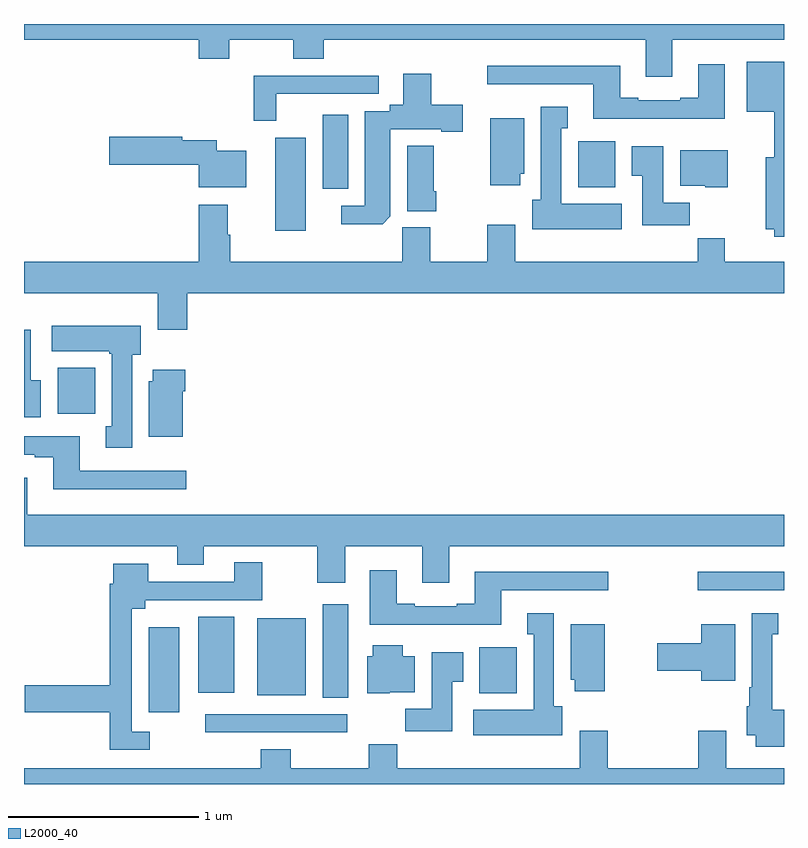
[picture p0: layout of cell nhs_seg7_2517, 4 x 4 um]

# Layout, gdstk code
import gdstk
lib = gdstk.Library(unit=1e-6, precision=1e-09)
def R(c, l, rs):  # rectangles x0, y0, x1, y1
    for r in rs: c.add(gdstk.rectangle(r[:2], r[2:], *l))
def P(c, l, *ps):  # polygons
    for p in ps: c.add(gdstk.Polygon(p, *l))
L2000_40 = (2000, 40)

nhs_seg7_2517 = lib.new_cell('nhs_seg7_2517')
R(nhs_seg7_2517, L2000_40, [(275.955,1030.272,276.7,1030.368), (275.657,1030.377,275.818,1030.825), (276.572,1030.453,276.706,1030.945), (276.227,1030.466,276.484,1030.873), (277.397,1030.478,277.594,1030.72), (275.918,1030.481,276.106,1030.879), (278.547,1031.019,279,1031.116), (275.177,1031.948,275.374,1032.19), (276.323,1032.912,276.484,1033.402), (276.572,1033.134,276.706,1033.522), (277.916,1033.142,278.113,1033.384)])
P(nhs_seg7_2517, L2000_40, [(278.413,1033.916),(279,1033.916),(279,1034),(275,1034),(275,1033.916),(275.921,1033.916),(275.921,1033.817),(276.081,1033.817),(276.081,1033.916),(276.418,1033.916),(276.418,1033.817),(276.578,1033.817),(276.578,1033.916),(278.273,1033.916),(278.273,1033.722),(278.413,1033.722)],
  [(279,1033.801),(278.804,1033.801),(278.804,1033.538),(278.949,1033.538),(278.949,1033.3),(278.903,1033.3),(278.903,1032.92),(278.949,1032.92),(278.949,1032.881),(279,1032.881)],
  [(278.689,1033.789),(278.549,1033.789),(278.549,1033.612),(278.453,1033.612),(278.453,1033.599),(278.233,1033.599),(278.233,1033.612),(278.137,1033.612),(278.137,1033.78),(277.437,1033.78),(277.437,1033.683),(277.997,1033.683),(277.997,1033.502),(278.689,1033.502)],
  [(276.928,1032.988),(276.928,1033.446),(277.196,1033.446),(277.196,1033.433),(277.309,1033.433),(277.309,1033.575),(277.143,1033.575),(277.143,1033.738),(276.995,1033.738),(276.995,1033.574),(276.924,1033.574),(276.924,1033.542),(276.794,1033.542),(276.794,1033.044),(276.669,1033.044),(276.669,1032.947),(276.887,1032.947)],
  [(276.327,1033.632),(276.868,1033.632),(276.868,1033.728),(276.208,1033.728),(276.208,1033.491),(276.327,1033.491)],
  [(278.146,1033.054),(277.828,1033.054),(277.828,1033.451),(277.861,1033.451),(277.861,1033.564),(277.721,1033.564),(277.721,1033.074),(277.676,1033.074),(277.676,1032.92),(278.146,1032.92)],
  [(277.612,1033.212),(277.633,1033.212),(277.633,1033.504),(277.454,1033.504),(277.454,1033.152),(277.612,1033.152)],
  [(276.169,1033.333),(276.015,1033.333),(276.015,1033.389),(275.832,1033.389),(275.832,1033.406),(275.448,1033.406),(275.448,1033.259),(275.919,1033.259),(275.919,1033.142),(276.169,1033.142)],
  [(277.169,1033.12),(277.156,1033.12),(277.156,1033.36),(277.016,1033.36),(277.016,1033.015),(277.169,1033.015)],
  [(278.504,1033.06),(278.365,1033.06),(278.365,1033.357),(278.198,1033.357),(278.198,1033.201),(278.255,1033.201),(278.255,1032.942),(278.504,1032.942)],
  [(278.704,1033.336),(278.453,1033.336),(278.453,1033.148),(278.586,1033.148),(278.586,1033.142),(278.704,1033.142)],
  [(275.858,1032.584),(279,1032.584),(279,1032.748),(278.689,1032.748),(278.689,1032.872),(278.545,1032.872),(278.545,1032.748),(277.585,1032.748),(277.585,1032.943),(277.438,1032.943),(277.438,1032.748),(277.137,1032.748),(277.137,1032.93),(276.991,1032.93),(276.991,1032.748),(276.086,1032.748),(276.086,1032.89),(276.073,1032.89),(276.073,1033.048),(275.921,1033.048),(275.921,1032.748),(275,1032.748),(275,1032.584),(275.705,1032.584),(275.705,1032.39),(275.858,1032.39)],
  [(275.569,1032.258),(275.614,1032.258),(275.614,1032.412),(275.145,1032.412),(275.145,1032.278),(275.449,1032.278),(275.449,1032.265),(275.462,1032.265),(275.462,1031.882),(275.429,1031.882),(275.429,1031.769),(275.569,1031.769)],
  [(275.089,1032.124),(275.035,1032.124),(275.035,1032.391),(275,1032.391),(275,1031.93),(275.089,1031.93)],
  [(275.836,1032.068),(275.849,1032.068),(275.849,1032.18),(275.678,1032.18),(275.678,1032.12),(275.657,1032.12),(275.657,1031.828),(275.836,1031.828)],
  [(275.854,1031.649),(275.293,1031.649),(275.293,1031.829),(275,1031.829),(275,1031.733),(275.057,1031.733),(275.057,1031.721),(275.153,1031.721),(275.153,1031.552),(275.854,1031.552)],
  [(276.691,1031.252),(277.097,1031.252),(277.097,1031.058),(277.237,1031.058),(277.237,1031.252),(279,1031.252),(279,1031.416),(275.017,1031.416),(275.017,1031.611),(275,1031.611),(275,1031.252),(275.807,1031.252),(275.807,1031.153),(275.947,1031.153),(275.947,1031.252),(276.544,1031.252),(276.544,1031.058),(276.691,1031.058)],
  [(275.662,1030.275),(275.568,1030.275),(275.568,1030.922),(275.638,1030.922),(275.638,1030.968),(276.255,1030.968),(276.255,1031.167),(276.107,1031.167),(276.107,1031.064),(275.653,1031.064),(275.653,1031.158),(275.471,1031.158),(275.471,1031.054),(275.452,1031.054),(275.452,1030.52),(275.004,1030.52),(275.004,1030.378),(275.452,1030.378),(275.452,1030.179),(275.662,1030.179)],
  [(277.513,1031.019),(278.074,1031.019),(278.074,1031.116),(277.373,1031.116),(277.373,1030.948),(277.277,1030.948),(277.277,1030.935),(277.057,1030.935),(277.057,1030.948),(276.961,1030.948),(276.961,1031.125),(276.821,1031.125),(276.821,1030.838),(277.513,1030.838)],
  [(279,1030.39),(278.938,1030.39),(278.938,1030.787),(278.971,1030.787),(278.971,1030.9),(278.831,1030.9),(278.831,1030.51),(278.816,1030.51),(278.816,1030.41),(278.804,1030.41),(278.804,1030.256),(278.852,1030.256),(278.852,1030.196),(279,1030.196)],
  [(277.834,1030.41),(277.789,1030.41),(277.789,1030.9),(277.649,1030.9),(277.649,1030.787),(277.682,1030.787),(277.682,1030.39),(277.365,1030.39),(277.365,1030.256),(277.834,1030.256)],
  [(278.743,1030.84),(278.564,1030.84),(278.564,1030.742),(278.334,1030.742),(278.334,1030.595),(278.564,1030.595),(278.564,1030.544),(278.743,1030.544)],
  [(278.056,1030.84),(277.877,1030.84),(277.877,1030.548),(277.898,1030.548),(277.898,1030.488),(278.056,1030.488)],
  [(276.924,1030.484),(277.057,1030.484),(277.057,1030.672),(276.994,1030.672),(276.994,1030.729),(276.836,1030.729),(276.836,1030.672),(276.806,1030.672),(276.806,1030.478),(276.924,1030.478)],
  [(277.255,1030.537),(277.312,1030.537),(277.312,1030.693),(277.145,1030.693),(277.145,1030.396),(277.006,1030.396),(277.006,1030.278),(277.255,1030.278)],
  [(279,1030.084),(278.695,1030.084),(278.695,1030.279),(278.548,1030.279),(278.548,1030.084),(278.073,1030.084),(278.073,1030.279),(277.925,1030.279),(277.925,1030.084),(276.965,1030.084),(276.965,1030.208),(276.814,1030.208),(276.814,1030.084),(276.405,1030.084),(276.405,1030.183),(276.245,1030.183),(276.245,1030.084),(275,1030.084),(275,1030),(279,1030)])

lib.write_gds('nhs_seg7_2517.gds')
